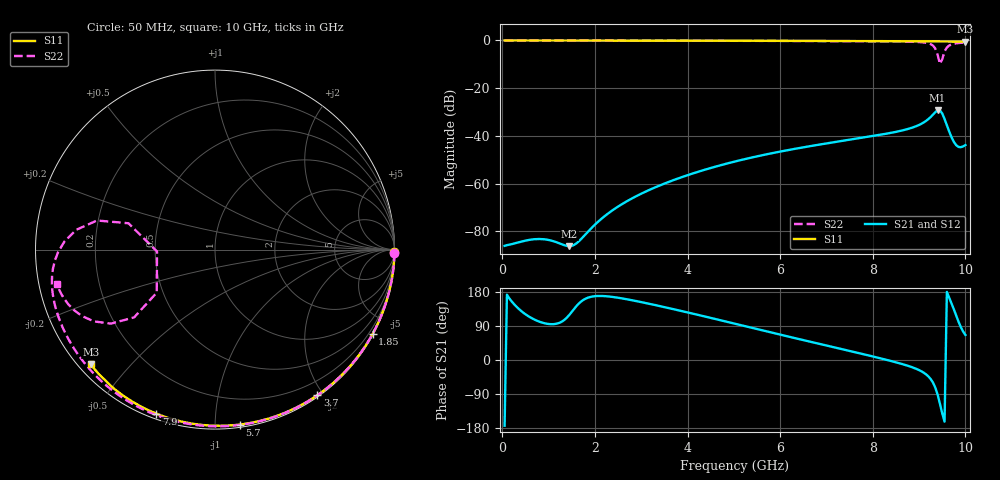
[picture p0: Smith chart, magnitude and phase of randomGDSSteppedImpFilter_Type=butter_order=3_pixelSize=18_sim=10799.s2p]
! freq	dB(S11)	phase(S11)	dB(S12)	phase(S12)
!  dB(S21)	phase(S21)	dB(S22)	phase(S22)
!S-par simulation data
#  GHz  S  DB  R 50
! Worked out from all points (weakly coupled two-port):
!   200 points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, 50 MHz to 10 GHz, reference 50 ohm
!   highest |S21| = -29.22 dB at 9.4 GHz (marker M1); lowest = -86.2 dB at 1.45 GHz (marker M2)
!   lowest |S11| = -0.5 dB at 10 GHz (marker M3), VSWR 33.65, Z = 1.71 - j19.5 ohm
!   |S11| at or under -10 dB: nowhere
!   |S22| runs from -9.8 to 0.0 dB; largest |S21 - S12| = 0
!   S11 on the Smith chart (normalised r, x): 50 MHz: open; 1.85 GHz: 0.03, -4.00; 3.7 GHz: 0.02, -1.92; 5.7 GHz: 0.02, -1.15; 7.9 GHz: 0.02, -0.70; 10 GHz: 0.03, -0.39
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0.05  -0.00 -0.8  -86.03 -173.5  -86.03 -173.5  -0.00 -1.0
1.45  -0.03 -22.1  -86.16 119.4  -86.16 119.4  -0.04 -28.7
1.75  -0.03 -26.6  -82.18 158.5  -82.18 158.5  -0.04 -34.5
1.85  -0.04 -28.1  -80.09 164.5  -80.09 164.5  -0.05 -36.5
2.5  -0.05 -37.7  -69.57 164.3  -69.57 164.3  -0.06 -48.8
3.4  -0.07 -50.7  -60.73 142.3  -60.73 142.3  -0.09 -65.5
3.7  -0.07 -54.9  -58.47 134.0  -58.47 134.0  -0.10 -70.9
5.05  -0.11 -73.4  -50.57 95.0  -50.57 95.0  -0.15 -94.6
5.7  -0.14 -81.9  -47.71 75.8  -47.71 75.8  -0.18 -105.7
6.7  -0.18 -94.7  -44.09 46.7  -44.09 46.7  -0.24 -122.6
7.9  -0.26 -109.6  -40.34 12.4  -40.34 12.4  -0.35 -143.4
8.35  -0.29 -115.2  -38.85 -1.3  -38.85 -1.3  -0.41 -152.1
8.85  -0.34 -121.4  -36.53 -19.1  -36.53 -19.1  -0.55 -163.9
9.15  -0.37 -125.3  -33.70 -37.8  -33.70 -37.8  -0.96 -175.9
9.3  -0.39 -127.3  -31.08 -59.5  -31.08 -59.5  -2.15 171.9
9.4  -0.42 -128.6  -29.22 -91.3  -29.22 -91.3  -5.95 163.1
9.45  -0.43 -129.3  -29.23 -115.5  -29.23 -115.5  -9.81 -178.1
9.5  -0.44 -129.9  -30.57 -140.9  -30.57 -140.9  -7.88 -143.5
9.55  -0.44 -130.5  -32.89 -162.7  -32.89 -162.7  -4.62 -140.0
9.6  -0.45 -131.2  -35.53 179.7  -35.53 179.7  -2.95 -144.6
9.8  -0.47 -134.1  -43.85 117.7  -43.85 117.7  -1.19 -159.5
10  -0.52 -137.3  -43.82 66.1  -43.82 66.1  -0.90 -167.7
